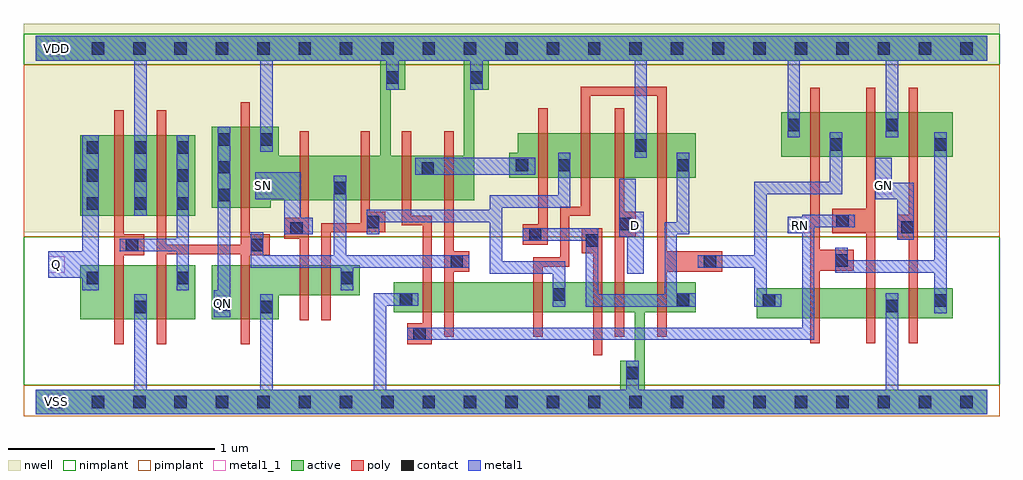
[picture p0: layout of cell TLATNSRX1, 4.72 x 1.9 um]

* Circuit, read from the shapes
.subckt TLATNSRX1 D GN Q QN RN SN VDD VSS
M1 VSS n1 Q VSS nfet w=0.26u l=0.045u
M2 n1 n2 VSS VSS nfet w=0.26u l=0.045u
M3 VSS n2 QN VSS nfet w=0.26u l=0.045u
M4 n3 SN VSS VSS nfet w=0.145u l=0.045u
M5 n2 n4 n3 VSS nfet w=0.145u l=0.045u
M6 n5 RN VSS VSS nfet w=0.145u l=0.045u
M7 n6 n2 n5 VSS nfet w=0.145u l=0.045u
M8 n4 n7 n6 VSS nfet w=0.145u l=0.045u
M9 n8 n9 n4 VSS nfet w=0.145u l=0.045u
M10 VSS D n8 VSS nfet w=0.145u l=0.045u
M11 n9 n7 VSS VSS nfet w=0.145u l=0.045u
M12 n10 n11 n7 VSS nfet w=0.145u l=0.045u
M13 VSS RN n10 VSS nfet w=0.145u l=0.045u
M14 n11 GN VSS VSS nfet w=0.145u l=0.045u
M15 VDD n1 Q VDD pfet w=0.39u l=0.045u
M16 n1 n2 VDD VDD pfet w=0.39u l=0.045u
M17 VDD n2 QN VDD pfet w=0.39u l=0.045u
M18 n2 SN VDD VDD pfet w=0.215u l=0.045u
M19 VDD n4 n2 VDD pfet w=0.215u l=0.045u
M20 n12 RN VDD VDD pfet w=0.215u l=0.045u
M21 VDD n2 n12 VDD pfet w=0.215u l=0.045u
M22 n4 n9 n12 VDD pfet w=0.215u l=0.045u
M23 n13 n7 n4 VDD pfet w=0.215u l=0.045u
M24 VDD D n13 VDD pfet w=0.215u l=0.045u
M25 n9 n7 VDD VDD pfet w=0.215u l=0.045u
M26 n7 n11 VDD VDD pfet w=0.215u l=0.045u
M27 VDD RN n7 VDD pfet w=0.215u l=0.045u
M28 n11 GN VDD VDD pfet w=0.215u l=0.045u
.ends

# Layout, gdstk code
import gdstk
lib = gdstk.Library(unit=1e-6, precision=5e-10)
def R(c, l, rs):  # rectangles x0, y0, x1, y1
    for r in rs: c.add(gdstk.rectangle(r[:2], r[2:], *l))
def A(c, l, x, y, w, h, nx, ny, dx, dy):  # array of equal rectangles
    R(c, l, [(x+i*dx, y+j*dy, x+i*dx+w, y+j*dy+h) for i in range(nx) for j in range(ny)])
def P(c, l, *ps):  # polygons
    for p in ps: c.add(gdstk.Polygon(p, *l))
active = (1, 0)
nwell = (2, 0)
poly = (3, 0)
nimplant = (4, 0)
pimplant = (5, 0)
contact = (6, 0)
metal1 = (7, 0)
metal1_1 = (7, 1)

tlatnsrx1 = lib.new_cell('TLATNSRX1')
R(tlatnsrx1, active, [(0.215,0.4,0.77,0.66), (3.485,0.405,4.435,0.55), (0.215,0.9,0.77,1.29), (3.605,1.185,4.435,1.4)])
P(tlatnsrx1, active, [(0,1.77),(4.6,1.77),(4.6,1.65),(2.19,1.65),(2.19,1.51),(2.12,1.51),(2.12,0.975),(1.135,0.975),(1.135,0.94),(0.85,0.94),(0.85,1.33),(1.175,1.33),(1.175,1.19),(1.665,1.19),(1.665,1.65),(1.785,1.65),(1.785,1.51),(1.715,1.51),(1.715,1.19),(2.07,1.19),(2.07,1.65),(0,1.65)],
  [(2.33,1.3),(3.19,1.3),(3.19,1.085),(2.29,1.085),(2.29,1.205),(2.33,1.205)],
  [(0.85,0.66),(1.565,0.66),(1.565,0.515),(1.175,0.515),(1.175,0.4),(0.85,0.4)],
  [(1.73,0.58),(3.19,0.58),(3.19,0.435),(2.945,0.435),(2.945,0.06),(4.6,0.06),(4.6,-0.06),(0,-0.06),(0,0.06),(2.825,0.06),(2.825,0.2),(2.895,0.2),(2.895,0.435),(1.73,0.435)])
R(tlatnsrx1, nwell, [(-0.06,0.82,4.66,1.83)])
P(tlatnsrx1, poly, [(0.585,1.41),(0.63,1.41),(0.63,0.76),(0.99,0.76),(0.99,1.45),(1.035,1.45),(1.035,0.81),(1.13,0.81),(1.13,0.71),(1.035,0.71),(1.035,0.28),(0.99,0.28),(0.99,0.715),(0.63,0.715),(0.63,0.28),(0.585,0.28)],
  [(0.38,1.41),(0.425,1.41),(0.425,0.81),(0.525,0.81),(0.525,0.71),(0.425,0.71),(0.425,0.28),(0.38,0.28)],
  [(1.275,1.31),(1.32,1.31),(1.32,0.395),(1.275,0.395),(1.275,0.79),(1.2,0.79),(1.2,0.89),(1.275,0.89)],
  [(1.57,1.31),(1.615,1.31),(1.615,0.92),(1.69,0.92),(1.69,0.82),(1.425,0.82),(1.425,0.395),(1.38,0.395),(1.38,0.865),(1.57,0.865)],
  [(1.77,1.31),(1.815,1.31),(1.815,0.9),(1.915,0.9),(1.915,0.28),(1.795,0.28),(1.795,0.38),(1.87,0.38),(1.87,0.855),(1.77,0.855)],
  [(1.975,1.31),(2.02,1.31),(2.02,0.73),(2.095,0.73),(2.095,0.63),(2.02,0.63),(2.02,0.315),(1.975,0.315)],
  [(2.635,1.525),(3.05,1.525),(3.05,0.73),(3.32,0.73),(3.32,0.63),(3.05,0.63),(3.05,0.315),(3.005,0.315),(3.005,1.48),(2.68,1.48),(2.68,0.9),(2.58,0.9),(2.58,0.655),(2.45,0.655),(2.45,0.315),(2.405,0.315),(2.405,0.7),(2.535,0.7),(2.535,0.945),(2.635,0.945)],
  [(2.43,1.42),(2.475,1.42),(2.475,0.76),(2.355,0.76),(2.355,0.86),(2.43,0.86)],
  [(2.8,1.42),(2.845,1.42),(2.845,0.92),(2.9,0.92),(2.9,0.8),(2.845,0.8),(2.845,0.315),(2.8,0.315)],
  [(3.745,1.52),(3.79,1.52),(3.79,0.735),(3.955,0.735),(3.955,0.635),(3.79,0.635),(3.79,0.285),(3.745,0.285)],
  [(4.015,1.52),(4.06,1.52),(4.06,0.285),(4.015,0.285),(4.015,0.815),(3.85,0.815),(3.85,0.935),(4.015,0.935)],
  [(4.22,1.52),(4.265,1.52),(4.265,0.285),(4.22,0.285),(4.22,0.785),(4.165,0.785),(4.165,0.905),(4.22,0.905)],
  [(2.64,0.84),(2.74,0.84),(2.74,0.225),(2.695,0.225),(2.695,0.72),(2.64,0.72)])
R(tlatnsrx1, nimplant, [(-0.06,0.08,4.66,0.8), (-0.06,1.63,4.66,1.78)])
R(tlatnsrx1, pimplant, [(-0.06,-0.07,4.66,0.08), (-0.06,0.8,4.66,1.63)])
A(tlatnsrx1, contact, 0.07, -0.03, 0.06, 0.06, 23, 2, 0.2, 1.71)
A(tlatnsrx1, contact, 0.245, 0.93, 0.06, 0.06, 1, 3, 0, 0.135)
A(tlatnsrx1, contact, 0.475, 0.93, 0.06, 0.06, 1, 3, 0, 0.135)
A(tlatnsrx1, contact, 0.68, 0.93, 0.06, 0.06, 1, 3, 0, 0.135)
A(tlatnsrx1, contact, 0.88, 0.97, 0.06, 0.06, 1, 3, 0, 0.135)
R(tlatnsrx1, contact, [(2.855,0.11,2.915,0.17), (1.825,0.3,1.885,0.36), (0.475,0.43,0.535,0.49), (1.085,0.43,1.145,0.49), (4.11,0.435,4.17,0.495), (0.88,0.44,0.94,0.5), (3.515,0.46,3.575,0.52), (4.345,0.46,4.405,0.52), (1.76,0.465,1.82,0.525), (3.1,0.465,3.16,0.525), (2.5,0.49,2.56,0.55), (0.245,0.57,0.305,0.63), (0.68,0.57,0.74,0.63), (1.475,0.57,1.535,0.63), (2.005,0.65,2.065,0.71), (3.23,0.65,3.29,0.71), (3.865,0.655,3.925,0.715), (0.435,0.73,0.495,0.79), (1.04,0.73,1.1,0.79), (2.66,0.75,2.72,0.81), (2.385,0.78,2.445,0.84), (1.23,0.81,1.29,0.87), (4.185,0.815,4.245,0.875), (2.82,0.83,2.88,0.89), (1.6,0.84,1.66,0.9), (3.87,0.845,3.93,0.905), (1.44,1.005,1.5,1.065), (1.865,1.1,1.925,1.16), (2.32,1.115,2.38,1.175), (2.525,1.115,2.585,1.175), (3.1,1.115,3.16,1.175), (2.895,1.21,2.955,1.27), (3.84,1.215,3.9,1.275), (4.345,1.215,4.405,1.275), (1.085,1.24,1.145,1.3), (3.635,1.31,3.695,1.37), (4.11,1.31,4.17,1.37), (1.695,1.54,1.755,1.6), (2.1,1.54,2.16,1.6)])
R(tlatnsrx1, metal1, [(1.835,1.1,2.415,1.18)])
P(tlatnsrx1, metal1, [(0,1.77),(4.6,1.77),(4.6,1.65),(4.17,1.65),(4.17,1.28),(4.11,1.28),(4.11,1.65),(3.695,1.65),(3.695,1.28),(3.635,1.28),(3.635,1.65),(2.955,1.65),(2.955,1.18),(2.895,1.18),(2.895,1.65),(2.16,1.65),(2.16,1.51),(2.1,1.51),(2.1,1.65),(1.755,1.65),(1.755,1.51),(1.695,1.51),(1.695,1.65),(1.145,1.65),(1.145,1.21),(1.085,1.21),(1.085,1.65),(0.535,1.65),(0.535,0.9),(0.475,0.9),(0.475,1.65),(0,1.65)],
  [(0.225,1.29),(0.305,1.29),(0.305,0.54),(0.225,0.54),(0.225,0.6),(0.06,0.6),(0.06,0.73),(0.225,0.73)],
  [(0.88,1.33),(0.94,1.33),(0.94,0.41),(0.86,0.41),(0.86,0.54),(0.88,0.54)],
  [(0.68,1.29),(0.74,1.29),(0.74,0.54),(0.68,0.54),(0.68,0.73),(0.405,0.73),(0.405,0.79),(0.68,0.79)],
  [(1.04,0.82),(1.1,0.82),(1.1,0.71),(1.44,0.71),(1.44,1.095),(1.5,1.095),(1.5,0.71),(2.095,0.71),(2.095,0.65),(1.535,0.65),(1.535,0.54),(1.475,0.54),(1.475,0.65),(1.04,0.65)],
  [(1.06,1.11),(1.28,1.11),(1.28,0.89),(1.34,0.89),(1.34,0.81),(1.2,0.81),(1.2,0.98),(1.06,0.98)],
  [(2.525,1.205),(2.585,1.205),(2.585,0.94),(2.255,0.94),(2.255,0.68),(2.56,0.68),(2.56,0.46),(2.5,0.46),(2.5,0.62),(2.195,0.62),(2.195,0.87),(1.66,0.87),(1.66,0.81),(1.6,0.81),(1.6,0.93),(2.195,0.93),(2.195,1),(2.525,1)],
  [(3.84,1.305),(3.9,1.305),(3.9,1.005),(3.535,1.005),(3.535,0.52),(3.605,0.52),(3.605,0.46),(3.475,0.46),(3.475,0.65),(3.2,0.65),(3.2,0.71),(3.475,0.71),(3.475,1.065),(3.84,1.065)],
  [(3.1,1.205),(3.16,1.205),(3.16,0.81),(3.1,0.81),(3.1,0.525),(3.19,0.525),(3.19,0.46),(2.66,0.46),(2.66,0.78),(2.355,0.78),(2.355,0.84),(2.72,0.84),(2.72,0.52),(3.04,0.52),(3.04,0.87),(3.1,0.87)],
  [(0.475,0.52),(0.535,0.52),(0.535,0.06),(1.085,0.06),(1.085,0.52),(1.145,0.52),(1.145,0.06),(1.635,0.06),(1.635,0.525),(1.85,0.525),(1.85,0.465),(1.695,0.465),(1.695,0.06),(2.855,0.06),(2.855,0.2),(2.915,0.2),(2.915,0.06),(4.11,0.06),(4.11,0.525),(4.17,0.525),(4.17,0.06),(4.6,0.06),(4.6,-0.06),(0,-0.06),(0,0.06),(0.475,0.06)],
  [(3.865,0.745),(3.925,0.745),(3.925,0.685),(4.345,0.685),(4.345,1.305),(4.405,1.305),(4.405,0.43),(4.345,0.43),(4.345,0.625),(3.865,0.625)],
  [(2.82,1.08),(2.9,1.08),(2.9,0.92),(2.94,0.92),(2.94,0.62),(2.86,0.62),(2.86,0.8),(2.82,0.8)],
  [(4.06,1.18),(4.14,1.18),(4.14,1.06),(4.245,1.06),(4.245,0.785),(4.165,0.785),(4.165,0.98),(4.06,0.98)],
  [(3.705,0.905),(3.96,0.905),(3.96,0.845),(3.765,0.845),(3.765,0.3),(1.795,0.3),(1.795,0.36),(3.705,0.36),(3.705,0.815),(3.635,0.815),(3.635,0.895),(3.705,0.895)])
R(tlatnsrx1, metal1_1, [(0.06,-0.04,0.14,0.04), (0.86,0.435,0.94,0.515), (0.06,0.625,0.14,0.705), (2.86,0.815,2.94,0.895), (3.66,0.815,3.74,0.895), (1.06,1.005,1.14,1.085), (4.06,1.005,4.14,1.085), (0.06,1.67,0.14,1.75)])
tlatnsrx1.add(gdstk.Label('QN', (0.9,0.475), layer=7, texttype=1))
tlatnsrx1.add(gdstk.Label('Q', (0.1,0.665), layer=7, texttype=1))
tlatnsrx1.add(gdstk.Label('GN', (4.1,1.045), layer=7, texttype=1))
tlatnsrx1.add(gdstk.Label('RN', (3.7,0.855), layer=7, texttype=1))
tlatnsrx1.add(gdstk.Label('D', (2.9,0.855), layer=7, texttype=1))
tlatnsrx1.add(gdstk.Label('SN', (1.1,1.045), layer=7, texttype=1))
tlatnsrx1.add(gdstk.Label('VDD', (0.1,1.71), layer=7, texttype=1))
tlatnsrx1.add(gdstk.Label('VSS', (0.1,0), layer=7, texttype=1))
tlatnsrx1.add(gdstk.Label('TLATNSRX1', (0,0), layer=63, texttype=0))

lib.write_gds('TLATNSRX1.gds')
